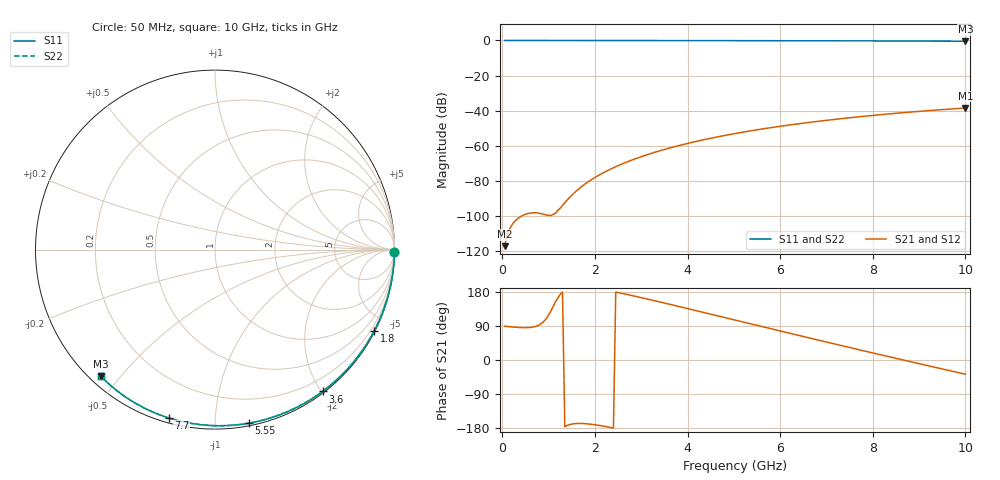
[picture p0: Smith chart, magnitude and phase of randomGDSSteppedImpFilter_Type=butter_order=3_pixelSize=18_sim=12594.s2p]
! freq	dB(S11)	phase(S11)	dB(S12)	phase(S12)
!  dB(S21)	phase(S21)	dB(S22)	phase(S22)
!S-par simulation data
#  GHz  S  DB  R 50
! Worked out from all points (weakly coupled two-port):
!   200 points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, 50 MHz to 10 GHz, reference 50 ohm
!   highest |S21| = -38.53 dB at 10 GHz (marker M1); lowest = -117.4 dB at 50 MHz (marker M2)
!   lowest |S11| = -0.4 dB at 10 GHz (marker M3), VSWR 39.13, Z = 1.53 - j22.3 ohm
!   |S11| at or under -10 dB: nowhere
!   |S22| runs from -0.4 to 0.0 dB; largest |S21 - S12| = 0
!   S11 on the Smith chart (normalised r, x): 50 MHz: open; 1.8 GHz: 0.04, -4.16; 3.6 GHz: 0.02, -2.01; 5.55 GHz: 0.02, -1.21; 7.7 GHz: 0.02, -0.76; 10 GHz: 0.03, -0.45
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0.05  -0.00 -0.8  -117.36 89.3  -117.36 89.3  -0.00 -0.8
0.45  -0.01 -6.9  -99.72 85.3  -99.72 85.3  -0.01 -6.9
0.9  -0.02 -13.6  -99.26 102.3  -99.26 102.3  -0.02 -13.6
1.75  -0.03 -26.3  -82.61 -167.7  -82.61 -167.7  -0.03 -26.3
1.8  -0.03 -27.0  -81.64 -168.1  -81.64 -168.1  -0.03 -27.0
1.9  -0.04 -28.5  -79.84 -169.3  -79.84 -169.3  -0.04 -28.5
2.05  -0.04 -30.7  -77.39 -171.8  -77.39 -171.8  -0.04 -30.7
2.25  -0.04 -33.6  -74.53 -176.0  -74.53 -176.0  -0.04 -33.6
2.45  -0.05 -36.5  -72.01 179.2  -72.01 179.2  -0.05 -36.5
2.65  -0.05 -39.4  -69.75 174.1  -69.75 174.1  -0.05 -39.4
3  -0.06 -44.4  -66.31 164.6  -66.31 164.6  -0.06 -44.4
3.4  -0.07 -50.1  -62.94 153.2  -62.94 153.2  -0.07 -50.1
3.6  -0.07 -52.8  -61.45 147.4  -61.45 147.4  -0.07 -52.8
4.3  -0.09 -62.5  -56.92 126.9  -56.92 126.9  -0.09 -62.5
5.05  -0.11 -72.4  -52.99 104.7  -52.99 104.7  -0.11 -72.4
5.55  -0.13 -78.9  -50.76 89.9  -50.76 89.9  -0.13 -78.9
6.1  -0.15 -85.9  -48.59 73.7  -48.59 73.7  -0.15 -85.9
6.7  -0.18 -93.4  -46.51 56.1  -46.51 56.1  -0.18 -93.4
7.7  -0.24 -105.4  -43.55 27.2  -43.55 27.2  -0.24 -105.4
8.35  -0.29 -113.0  -41.90 8.7  -41.90 8.7  -0.29 -113.0
9.15  -0.36 -122.3  -40.14 -13.9  -40.14 -13.9  -0.36 -122.3
10  -0.44 -131.9  -38.53 -37.6  -38.53 -37.6  -0.44 -131.9
